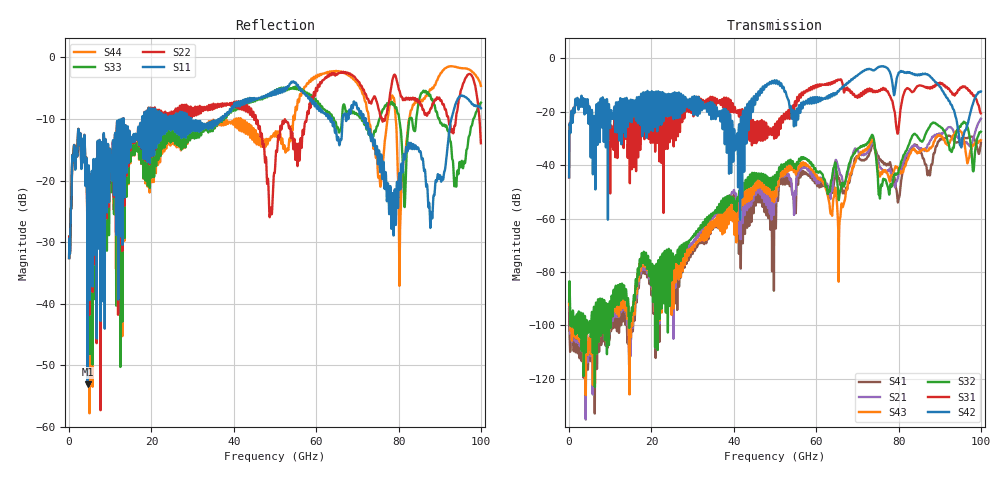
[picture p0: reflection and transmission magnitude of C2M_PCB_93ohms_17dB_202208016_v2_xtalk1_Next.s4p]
! Info: Touchstone file created by Circ.  Input file=Intel_C2M_200G_5p5in_202208016_staggered.circ
# Hz S RI R 50
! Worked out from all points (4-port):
!   10000 points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, 10 MHz to 100 GHz, reference 50 ohm
!   strongest paths, dB at 10 MHz, 25.01 GHz, 50.01 GHz, 75.01 GHz, 100 GHz:
!     S42: -44.5, -16.2, -8.6, -3.4, -12.4
!     S31: -44.6, -20.4, -24.8, -12.4, -20.6
!     S32: -91.0, -79.2, -43.8, -45.3, -27.5
!     S43: -91.6, -80.2, -46.5, -41.6, -30.6
!     S21: -91.9, -76.3, -48.3, -38.1, -22.6
!     S41: -93.8, -75.6, -52.0, -36.4, -31.7
!   lowest |S11| = -53.1 dB at 4.5 GHz (marker M1), VSWR 1.00, Z = 50.2 + j0.0998 ohm
!   |S11| at or under -10 dB: start of sweep to 12.7 GHz; 29.68 GHz to 36.74 GHz (7.06 GHz wide, 21.3 % of centre); 72.02 GHz to 92.83 GHz (20.81 GHz wide, 25.3 % of centre)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
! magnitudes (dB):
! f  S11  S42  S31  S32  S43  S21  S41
! 10 MHz  -32.6  -44.5  -44.6  -91.0  -91.6  -91.9  -93.8
! 4.5 GHz  -53.1  -15.4  -16.4  -101.4  -109.0  -109.4  -113.5
! 40.67 GHz  -7.2  -32.5  -19.9  -56.1  -64.7  -54.0  -55.0
! 73.48 GHz  -12.9  -4.2  -11.5  -28.8  -30.3  -31.4  -32.8
! 76.14 GHz  -19.3  -3.0  -11.4  -46.3  -42.5  -41.7  -38.6
! 95.2 GHz  -6.2  -33.3  -11.0  -24.9  -27.5  -31.3  -30.2
! 100 GHz  -8.3  -12.4  -20.6  -27.5  -30.6  -22.6  -31.7
